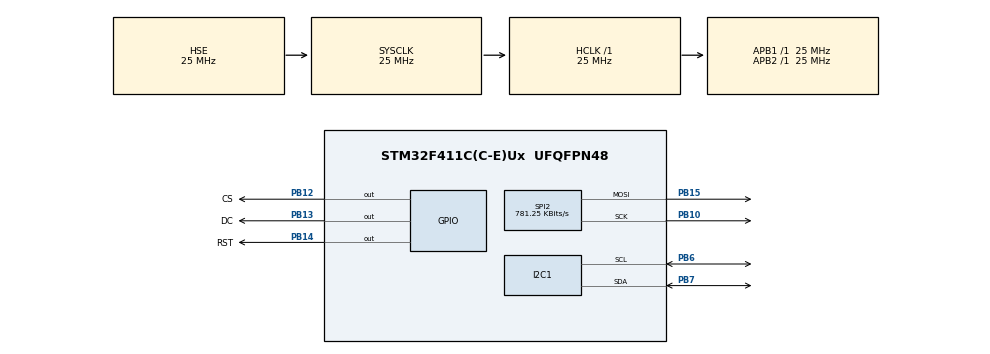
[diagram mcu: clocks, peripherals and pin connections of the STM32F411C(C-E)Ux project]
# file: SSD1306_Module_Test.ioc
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I2C1.I2C_Mode=I2C_Fast
Mcu.Family=STM32F4
Mcu.Name=STM32F411C(C-E)Ux
Mcu.Package=UFQFPN48
NVIC.PriorityGroup=NVIC_PRIORITYGROUP_4
NVIC.TIM1_UP_TIM10_IRQn=true\:0\:0\:true\:true\:true\:1\:true\:true\:true
PB10.Mode=TX_Only_Simplex_Unidirect_Master
PB10.Signal=SPI2_SCK
PB12.GPIO_Label=CS
PB12.GPIO_PuPd=GPIO_PULLUP
PB12.GPIO_Speed=GPIO_SPEED_FREQ_HIGH
PB12.PinState=GPIO_PIN_SET
PB12.Signal=GPIO_Output
PB13.GPIO_Label=DC
PB13.GPIO_PuPd=GPIO_PULLUP
PB13.GPIO_Speed=GPIO_SPEED_FREQ_HIGH
PB13.PinState=GPIO_PIN_SET
PB13.Signal=GPIO_Output
PB14.GPIO_Label=RST
PB14.GPIO_PuPd=GPIO_PULLUP
PB14.GPIO_Speed=GPIO_SPEED_FREQ_HIGH
PB14.PinState=GPIO_PIN_SET
PB14.Signal=GPIO_Output
PB15.Mode=TX_Only_Simplex_Unidirect_Master
PB15.Signal=SPI2_MOSI
PB6.Mode=I2C
PB6.Signal=I2C1_SCL
PB7.Mode=I2C
PB7.Signal=I2C1_SDA
PH0\ -\ OSC_IN.Mode=HSE-External-Oscillator
PH0\ -\ OSC_IN.Signal=RCC_OSC_IN
PH1\ -\ OSC_OUT.Mode=HSE-External-Oscillator
PH1\ -\ OSC_OUT.Signal=RCC_OSC_OUT
ProjectManager.HeapSize=0x200
ProjectManager.StackSize=0x400
ProjectManager.TargetToolchain=STM32CubeIDE
RCC.48MHZClocksFreq_Value=75000000
RCC.AHBFreq_Value=25000000
RCC.APB1Freq_Value=25000000
RCC.APB1TimFreq_Value=25000000
RCC.APB2Freq_Value=25000000
RCC.APB2TimFreq_Value=25000000
RCC.CortexFreq_Value=25000000
RCC.HCLKFreq_Value=25000000
RCC.HSE_VALUE=25000000
RCC.HSI_VALUE=16000000
RCC.LSE_VALUE=32768
RCC.PLLP=RCC_PLLP_DIV4
RCC.PLLSourceVirtual=RCC_PLLSOURCE_HSE
RCC.SYSCLKFreq_VALUE=25000000
RCC.SYSCLKSource=RCC_SYSCLKSOURCE_HSE
RCC.VCOOutputFreq_Value=300000000
SPI2.BaudRatePrescaler=SPI_BAUDRATEPRESCALER_32
SPI2.CLKPolarity=SPI_POLARITY_LOW
SPI2.CalculateBaudRate=781.25 KBits/s
SPI2.Direction=SPI_DIRECTION_2LINES
SPI2.Mode=SPI_MODE_MASTER
SPI2.VirtualType=VM_MASTER
TIM10.AutoReloadPreload=TIM_AUTORELOAD_PRELOAD_ENABLE
TIM10.Period=9999
TIM10.Prescaler=2499
VP_TIM10_VS_ClockSourceINT.Mode=Enable_Timer
board=custom

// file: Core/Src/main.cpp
/* USER CODE BEGIN Header */
/**
  ******************************************************************************
  * @file           : main.c
  * @brief          : Main program body
  ******************************************************************************
  * @attention
  *
  * Copyright (c) 2023 STMicroelectronics.
  * All rights reserved.
  *
  * This software is licensed under terms that can be found in the LICENSE file
  * in the root directory of this software component.
  * If no LICENSE file comes with this software, it is provided AS-IS.
  *
  ******************************************************************************
  */
/* USER CODE END Header */
#include <main.h>
#include <cstdio>
#include <SSD1306.h>

#define SSD1306_INCLUDE_FONT_6x8
#define SSD1306_INCLUDE_FONT_11x18
#include <SSD1306_Fonts.h>

using namespace std;
/* USER CODE END Includes */

I2C_HandleTypeDef hi2c1;

SPI_HandleTypeDef hspi2;

TIM_HandleTypeDef htim10;

void SystemClock_Config(void);
static void MX_GPIO_Init(void);
static void MX_I2C1_Init(void);
static void MX_TIM10_Init(void);
static void MX_SPI2_Init(void);
static void MX_NVIC_Init(void);

/* USER CODE BEGIN 0 */
#ifdef SSD1306_INCLUDE_FONT_6x8
SSD1306_FontDef Font_6x8 = {6, 8, Font6x8, 32, 126};
#endif

#ifdef SSD1306_INCLUDE_FONT_11x18
SSD1306_FontDef Font_11x18 = {11, 18, Font11x18, 32, 126};
#endif

SSD1306_I2C_Display *SSD1306_I2C_Display::p_instance = new SSD1306_I2C_Display(&hi2c1);

SSD1306_Port cs  = {CS_GPIO_Port , CS_Pin };
SSD1306_Port dc  = {DC_GPIO_Port , DC_Pin };
SSD1306_Port rst = {RST_GPIO_Port, RST_Pin};

SSD1306_SPI_Display *SSD1306_SPI_Display::p_instance = new SSD1306_SPI_Display(&hspi2, &cs, &dc, &rst);

bool f_refresh = false;
char str_buff[256];
uint16_t cnt_sys = 0, cnt_t10 = 0;

/* USER CODE END 0 */

int main(void)
{
  /* USER CODE BEGIN 1 */
    SSD1306_I2C_Display *p_i2c_display = SSD1306_I2C_Display::getInstance();
    SSD1306_SPI_Display *p_spi_display = SSD1306_SPI_Display::getInstance();

  /* USER CODE END 1 */

  /* MCU Configuration--------------------------------------------------------*/

  /* Reset of all peripherals, Initializes the Flash interface and the Systick. */
  HAL_Init();

  /* Configure the system clock */
  SystemClock_Config();

  /* Initialize all configured peripherals */
  MX_GPIO_Init();
  MX_I2C1_Init();
  MX_TIM10_Init();
  MX_SPI2_Init();

  /* Initialize interrupts */
  MX_NVIC_Init();
  /* USER CODE BEGIN 2 */

  p_i2c_display->ssd1306_Init();
  p_spi_display->ssd1306_Init();

  HAL_TIM_Base_Start_IT(&htim10);
  /* USER CODE END 2 */

  /* Infinite loop */
  /* USER CODE BEGIN WHILE */
  while (1)
  {
      if (f_refresh)
      {
          f_refresh = false;

          p_i2c_display->ssd1306_Fill(Black);
          p_spi_display->ssd1306_Fill(Black);

          p_i2c_display->ssd1306_SetCursor(2, 2);
          p_spi_display->ssd1306_SetCursor(2, 2);

          sprintf(str_buff, "Tim10 counter = %04X", cnt_t10);
          p_i2c_display->ssd1306_WriteString(str_buff, Font_6x8, White);
          p_spi_display->ssd1306_WriteString(str_buff, Font_6x8, White);

          p_i2c_display->ssd1306_SetCursor(2, 32);
          p_spi_display->ssd1306_SetCursor(2, 32);

          sprintf(str_buff, "Sys = %04X", cnt_sys);
          p_i2c_display->ssd1306_WriteString(str_buff, Font_11x18, White);
          p_spi_display->ssd1306_WriteString(str_buff, Font_11x18, White);

          p_i2c_display->ssd1306_UpdateScreen();
          p_spi_display->ssd1306_UpdateScreen();
      }

    /* USER CODE END WHILE */

  }
}

void SystemClock_Config(void)
{
  RCC_OscInitTypeDef RCC_OscInitStruct = {0};
  RCC_ClkInitTypeDef RCC_ClkInitStruct = {0};

  /** Configure the main internal regulator output voltage
  */
  __HAL_RCC_PWR_CLK_ENABLE();
  __HAL_PWR_VOLTAGESCALING_CONFIG(PWR_REGULATOR_VOLTAGE_SCALE1);

  /** Initializes the RCC Oscillators according to the specified parameters
  * in the RCC_OscInitTypeDef structure.
  */
  RCC_OscInitStruct.OscillatorType = RCC_OSCILLATORTYPE_HSE;
  RCC_OscInitStruct.HSEState = RCC_HSE_ON;
  RCC_OscInitStruct.PLL.PLLState = RCC_PLL_NONE;
  if (HAL_RCC_OscConfig(&RCC_OscInitStruct) != HAL_OK)
  {
    Error_Handler();
  }

  /** Initializes the CPU, AHB and APB buses clocks
  */
  RCC_ClkInitStruct.ClockType = RCC_CLOCKTYPE_HCLK|RCC_CLOCKTYPE_SYSCLK
                              |RCC_CLOCKTYPE_PCLK1|RCC_CLOCKTYPE_PCLK2;
  RCC_ClkInitStruct.SYSCLKSource = RCC_SYSCLKSOURCE_HSE;
  RCC_ClkInitStruct.AHBCLKDivider = RCC_SYSCLK_DIV1;
  RCC_ClkInitStruct.APB1CLKDivider = RCC_HCLK_DIV1;
  RCC_ClkInitStruct.APB2CLKDivider = RCC_HCLK_DIV1;

  if (HAL_RCC_ClockConfig(&RCC_ClkInitStruct, FLASH_LATENCY_0) != HAL_OK)
  {
    Error_Handler();
  }
}

/**
  * @brief NVIC Configuration.
  * @retval None
  */
static void MX_NVIC_Init(void)
{
  /* TIM1_UP_TIM10_IRQn interrupt configuration */
  HAL_NVIC_SetPriority(TIM1_UP_TIM10_IRQn, 0, 0);
  HAL_NVIC_EnableIRQ(TIM1_UP_TIM10_IRQn);
}

static void MX_I2C1_Init(void)
{

  hi2c1.Instance = I2C1;
  hi2c1.Init.ClockSpeed = 800000;
  hi2c1.Init.DutyCycle = I2C_DUTYCYCLE_2;
  hi2c1.Init.OwnAddress1 = 0;
  hi2c1.Init.AddressingMode = I2C_ADDRESSINGMODE_7BIT;
  hi2c1.Init.DualAddressMode = I2C_DUALADDRESS_DISABLE;
  hi2c1.Init.OwnAddress2 = 0;
  hi2c1.Init.GeneralCallMode = I2C_GENERALCALL_DISABLE;
  hi2c1.Init.NoStretchMode = I2C_NOSTRETCH_DISABLE;
  if (HAL_I2C_Init(&hi2c1) != HAL_OK)
  {
    Error_Handler();
  }

}

static void MX_SPI2_Init(void)
{

  /* SPI2 parameter configuration*/
  hspi2.Instance = SPI2;
  hspi2.Init.Mode = SPI_MODE_MASTER;
  hspi2.Init.Direction = SPI_DIRECTION_2LINES;
  hspi2.Init.DataSize = SPI_DATASIZE_8BIT;
  hspi2.Init.CLKPolarity = SPI_POLARITY_LOW;
  hspi2.Init.CLKPhase = SPI_PHASE_1EDGE;
  hspi2.Init.NSS = SPI_NSS_SOFT;
  hspi2.Init.BaudRatePrescaler = SPI_BAUDRATEPRESCALER_32;
  hspi2.Init.FirstBit = SPI_FIRSTBIT_MSB;
  hspi2.Init.TIMode = SPI_TIMODE_DISABLE;
  hspi2.Init.CRCCalculation = SPI_CRCCALCULATION_DISABLE;
  hspi2.Init.CRCPolynomial = 10;
  if (HAL_SPI_Init(&hspi2) != HAL_OK)
  {
    Error_Handler();
  }

}

static void MX_TIM10_Init(void)
{

  htim10.Instance = TIM10;
  htim10.Init.Prescaler = 2499;
  htim10.Init.CounterMode = TIM_COUNTERMODE_UP;
  htim10.Init.Period = 9999;
  htim10.Init.ClockDivision = TIM_CLOCKDIVISION_DIV1;
  htim10.Init.AutoReloadPreload = TIM_AUTORELOAD_PRELOAD_ENABLE;
  if (HAL_TIM_Base_Init(&htim10) != HAL_OK)
  {
    Error_Handler();
  }

}

static void MX_GPIO_Init(void)
{
  GPIO_InitTypeDef GPIO_InitStruct = {0};

  /* GPIO Ports Clock Enable */
  __HAL_RCC_GPIOH_CLK_ENABLE();
  __HAL_RCC_GPIOB_CLK_ENABLE();

  /*Configure GPIO pin Output Level */
  HAL_GPIO_WritePin(GPIOB, CS_Pin|DC_Pin|RST_Pin, GPIO_PIN_SET);

  /*Configure GPIO pins : CS_Pin DC_Pin RST_Pin */
  GPIO_InitStruct.Pin = CS_Pin|DC_Pin|RST_Pin;
  GPIO_InitStruct.Mode = GPIO_MODE_OUTPUT_PP;
  GPIO_InitStruct.Pull = GPIO_PULLUP;
  GPIO_InitStruct.Speed = GPIO_SPEED_FREQ_HIGH;
  HAL_GPIO_Init(GPIOB, &GPIO_InitStruct);

}

/* USER CODE BEGIN 4 */
void HAL_SYSTICK_Callback()
{
    cnt_sys++;
    f_refresh = true;
}

/**
  * @brief Timer tim10 elapsed period callback
  * @retval None
  */
void HAL_TIM_PeriodElapsedCallback(TIM_HandleTypeDef *htim)
{
    if (htim->Instance == TIM10)
    {
        cnt_t10++;
        f_refresh = true;
    }
}
/* USER CODE END 4 */

void Error_Handler(void)
{
  __disable_irq();
  while (1)
  {
  }
}
